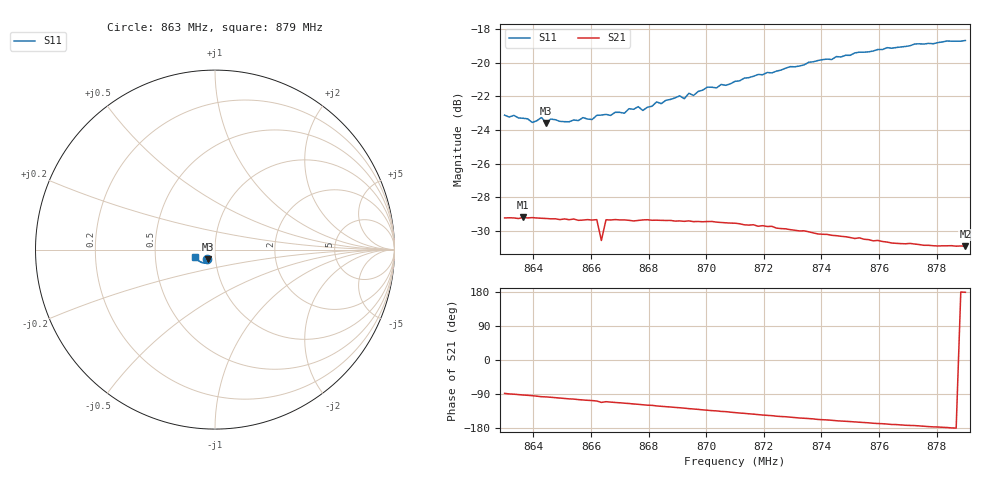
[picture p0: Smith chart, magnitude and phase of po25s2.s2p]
# HZ S RI R 50
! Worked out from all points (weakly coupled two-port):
!   101 points, 863 MHz to 879 MHz, reference 50 ohm
!   highest |S21| = -29.20 dB at 863.64 MHz (marker M1); lowest = -30.9 dB at 879 MHz (marker M2)
!   lowest |S11| = -23.6 dB at 864.44 MHz (marker M3), VSWR 1.14, Z = 46.1 - j5.07 ohm
!   |S11| at or under -10 dB: start of sweep to end of sweep
!   S12 and S22 are empty: the file has one direction only
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8.63e8  -0.0442 -0.054  0.00115 -0.0345  0 0  0 0
8.6364e8  -0.0416 -0.0542  -0.00144 -0.0346  0 0  0 0
8.6396e8  -0.0388 -0.0539  -0.00253 -0.0345  0 0  0 0
8.6428e8  -0.0392 -0.0565  -0.00411 -0.0342  0 0  0 0
8.6444e8  -0.0373 -0.0547  -0.00444 -0.0341  0 0  0 0
8.646e8  -0.0392 -0.0555  -0.00497 -0.034  0 0  0 0
8.6524e8  -0.0359 -0.0562  -0.00743 -0.0333  0 0  0 0
8.6572e8  -0.0354 -0.0588  -0.00911 -0.0328  0 0  0 0
8.6604e8  -0.0351 -0.058  -0.00999 -0.0326  0 0  0 0
8.662e8  -0.0366 -0.0593  -0.0107 -0.0325  0 0  0 0
8.6636e8  -0.0374 -0.059  -0.011 -0.0275  0 0  0 0
8.6652e8  -0.0348 -0.0609  -0.0117 -0.0321  0 0  0 0
8.6716e8  -0.0345 -0.0618  -0.0138 -0.0312  0 0  0 0
8.6764e8  -0.0369 -0.0641  -0.0154 -0.0303  0 0  0 0
8.678e8  -0.035 -0.063  -0.0161 -0.0301  0 0  0 0
8.6828e8  -0.037 -0.0669  -0.0176 -0.0291  0 0  0 0
8.6844e8  -0.0372 -0.0657  -0.0181 -0.0288  0 0  0 0
8.7004e8  -0.0436 -0.0724  -0.0228 -0.0248  0 0  0 0
8.71e8  -0.0493 -0.0728  -0.0251 -0.0219  0 0  0 0
8.7372e8  -0.0685 -0.0736  -0.0284 -0.013  0 0  0 0
8.7644e8  -0.0925 -0.0601  -0.0287 -0.00499  0 0  0 0
8.79e8  -0.1096 -0.0391  -0.0285 0.000647  0 0  0 0
